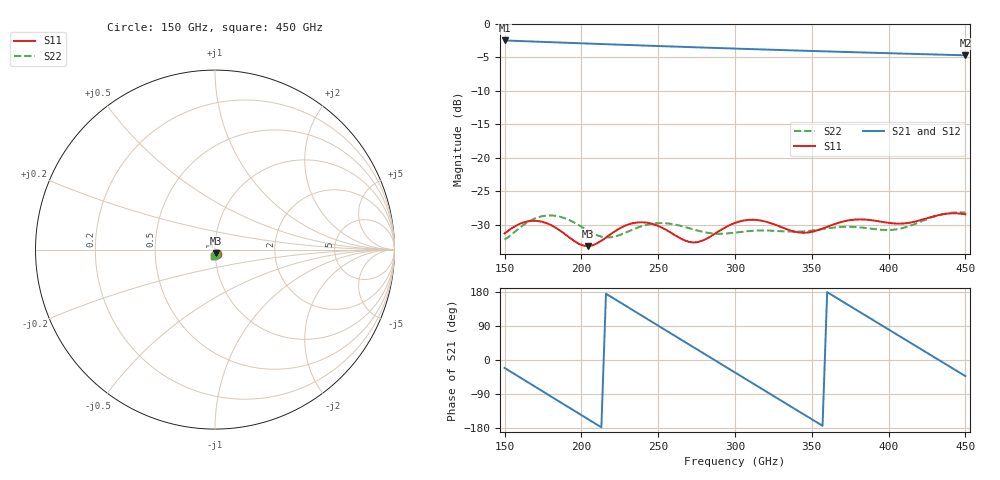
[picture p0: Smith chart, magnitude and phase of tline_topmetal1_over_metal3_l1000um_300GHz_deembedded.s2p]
! Created with skrf 2.2.0 (http://scikit-rf.org).
# GHz S DB R 50.0
! Port[1] = P1
! Port[2] = P2
!freq dBS11 angS11 dBS21 angS21 dBS12 angS12 dBS22 angS22
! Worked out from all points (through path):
!   101 points, 150 GHz to 450 GHz, reference 50 ohm
!   highest |S21| = -2.46 dB at 150 GHz (marker M1); lowest = -4.7 dB at 450 GHz (marker M2)
!   group delay of S21, straight-line fit = 6.86 ps
!   lowest |S11| = -33.2 dB at 204 GHz (marker M3), VSWR 1.04, Z = 50.3 - j2.18 ohm
!   |S11| at or under -10 dB: start of sweep to end of sweep
!   |S22| runs from -32.2 to -28.1 dB; largest |S21 - S12| = 8.5e-14
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150  -31.30 -64.0  -2.46 -21.0  -2.46 -21.0  -32.23 -83.1
165  -29.50 -73.7  -2.58 -58.3  -2.58 -58.3  -29.62 -80.7
177  -29.74 -85.8  -2.69 -88.2  -2.69 -88.2  -28.63 -91.2
189  -31.35 -92.6  -2.79 -118.1  -2.79 -118.1  -29.01 -102.6
201  -33.10 -85.5  -2.89 -147.9  -2.89 -147.9  -30.42 -108.5
204  -33.20 -81.8  -2.92 -155.3  -2.92 -155.3  -30.84 -108.4
225  -30.53 -73.2  -3.09 152.6  -3.09 152.6  -31.53 -95.7
240  -29.63 -85.0  -3.21 115.4  -3.21 115.4  -30.17 -96.1
252  -30.39 -93.8  -3.30 85.7  -3.30 85.7  -29.75 -102.3
264  -31.97 -94.2  -3.40 56.0  -3.40 56.0  -30.13 -107.9
279  -32.37 -80.5  -3.51 18.9  -3.51 18.9  -31.07 -108.7
300  -29.72 -79.9  -3.67 -33.0  -3.67 -33.0  -31.18 -103.5
312  -29.26 -88.2  -3.76 -62.6  -3.76 -62.6  -30.90 -103.5
324  -29.82 -94.8  -3.84 -92.2  -3.84 -92.2  -30.90 -104.3
336  -30.85 -94.9  -3.93 -121.8  -3.93 -121.8  -31.03 -103.5
351  -31.01 -86.8  -4.03 -158.8  -4.03 -158.8  -30.84 -101.0
372  -29.43 -86.6  -4.18 149.4  -4.18 149.4  -30.31 -101.9
387  -29.27 -92.3  -4.28 112.5  -4.28 112.5  -30.54 -102.8
402  -29.77 -93.1  -4.37 75.6  -4.37 75.6  -30.77 -98.2
426  -28.96 -89.0  -4.53 16.5  -4.53 16.5  -29.08 -92.8
438  -28.35 -93.0  -4.60 -13.0  -4.60 -13.0  -28.30 -96.8
450  -28.44 -98.9  -4.67 -42.5  -4.67 -42.5  -28.18 -102.1
